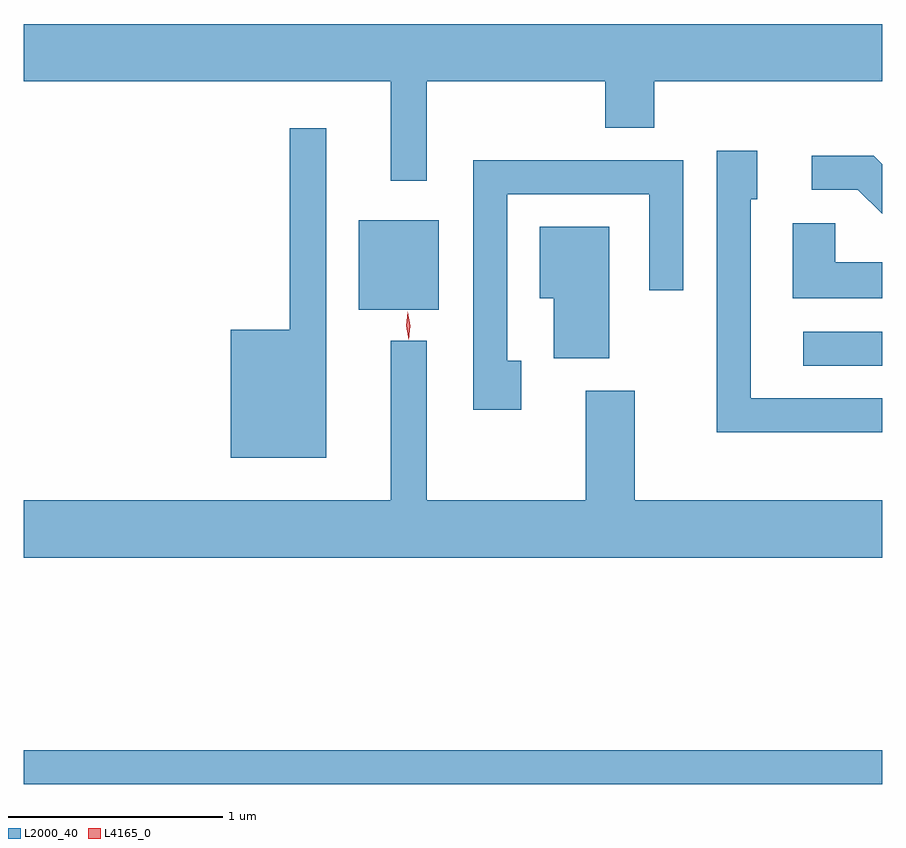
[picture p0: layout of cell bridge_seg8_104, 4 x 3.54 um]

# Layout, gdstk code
import gdstk
lib = gdstk.Library(unit=1e-6, precision=1e-09)
def R(c, l, rs):  # rectangles x0, y0, x1, y1
    for r in rs: c.add(gdstk.rectangle(r[:2], r[2:], *l))
def P(c, l, *ps):  # polygons
    for p in ps: c.add(gdstk.Polygon(p, *l))
L2000_40 = (2000, 40)
L4165_0 = (4165, 0)

bridge_seg8_104 = lib.new_cell('bridge_seg8_104')
R(bridge_seg8_104, L2000_40, [(1497.831,1842.021,1501.831,1842.179), (1501.463,1843.971,1501.831,1844.129), (1499.391,1844.231,1499.764,1844.649)])
P(bridge_seg8_104, L2000_40, [(1497.831,1845.296),(1499.541,1845.296),(1499.541,1844.833),(1499.709,1844.833),(1499.709,1845.296),(1500.541,1845.296),(1500.541,1845.081),(1500.769,1845.081),(1500.769,1845.296),(1501.831,1845.296),(1501.831,1845.564),(1497.831,1845.564)],
  [(1499.239,1845.078),(1499.071,1845.078),(1499.071,1844.139),(1498.796,1844.139),(1498.796,1843.541),(1499.239,1843.541)],
  [(1501.831,1843.819),(1501.219,1843.819),(1501.219,1844.746),(1501.249,1844.746),(1501.249,1844.974),(1501.061,1844.974),(1501.061,1843.661),(1501.831,1843.661)],
  [(1501.831,1844.91),(1501.792,1844.949),(1501.503,1844.949),(1501.503,1844.791),(1501.719,1844.791),(1501.831,1844.679)],
  [(1500.149,1843.994),(1500.084,1843.994),(1500.084,1844.771),(1500.746,1844.771),(1500.746,1844.323),(1500.904,1844.323),(1500.904,1844.929),(1499.926,1844.929),(1499.926,1843.766),(1500.149,1843.766)],
  [(1501.831,1844.454),(1501.614,1844.454),(1501.614,1844.634),(1501.416,1844.634),(1501.416,1844.286),(1501.831,1844.286)],
  [(1500.559,1844.619),(1500.236,1844.619),(1500.236,1844.286),(1500.301,1844.286),(1500.301,1844.006),(1500.559,1844.006)],
  [(1499.541,1844.088),(1499.541,1843.344),(1497.831,1843.344),(1497.831,1843.076),(1501.831,1843.076),(1501.831,1843.344),(1500.679,1843.344),(1500.679,1843.854),(1500.451,1843.854),(1500.451,1843.344),(1499.709,1843.344),(1499.709,1844.088)])
P(bridge_seg8_104, L4165_0, [(1499.624,1844.093),(1499.612,1844.157),(1499.62,1844.221),(1499.62,1844.222),(1499.621,1844.221),(1499.632,1844.157),(1499.625,1844.093),(1499.625,1844.093)])

lib.write_gds('bridge_seg8_104.gds')
